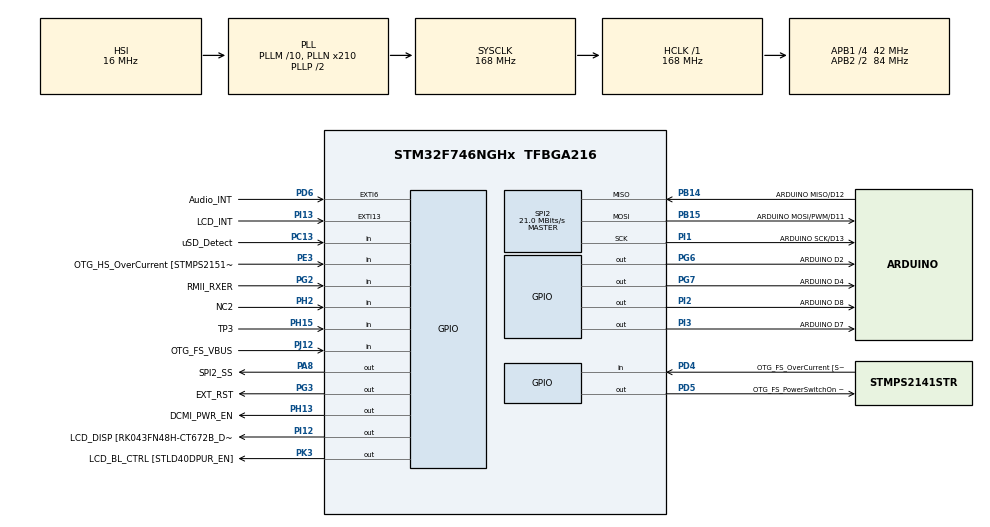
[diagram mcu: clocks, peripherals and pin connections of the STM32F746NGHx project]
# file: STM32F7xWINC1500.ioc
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Mcu.Family=STM32F7
Mcu.Name=STM32F746NGHx
Mcu.Package=TFBGA216
NVIC.PriorityGroup=NVIC_PRIORITYGROUP_4
PA0/WKUP.GPIO_Label=ARDUINO A0
PA0/WKUP.GPIO_Mode=GPIO_MODE_ANALOG
PA0/WKUP.GPIO_PuPd=GPIO_NOPULL
PA0/WKUP.Signal=ADCx_IN0
PA1.GPIO_Label=RMII_REF_CLK [LAN8742A-CZ-TR_REFCLK0]
PA1.Signal=ETH_REF_CLK
PA10.GPIO_Label=OTG_FS_ID
PA10.Signal=USB_OTG_FS_ID
PA11.GPIO_Label=OTG_FS_N
PA11.Signal=USB_OTG_FS_DM
PA12.GPIO_Label=OTG_FS_P
PA12.Signal=USB_OTG_FS_DP
PA13.GPIO_Label=SWDIO
PA13.Signal=SYS_JTMS-SWDIO
PA14.GPIO_Label=SWCLK
PA14.Signal=SYS_JTCK-SWCLK
PA15.GPIO_Label=ARDUINO PWM/D9
PA15.GPIO_ModeDefaultPP=GPIO_MODE_AF_PP
PA15.GPIO_PuPd=GPIO_NOPULL
PA15.GPIO_Speed=GPIO_SPEED_FREQ_LOW
PA15.Signal=S_TIM2_CH1_ETR
PA2.GPIO_Label=RMII_MDIO [LAN8742A-CZ-TR_MDIO]
PA2.Signal=ETH_MDIO
PA3.GPIO_Label=ULPI_D0 [USB3320C-EZK_D0]
PA3.Signal=USB_OTG_HS_ULPI_D0
PA4.GPIO_Label=DCMI_HSYNC
PA4.Signal=DCMI_HSYNC
PA5.GPIO_Label=ULPI_CLK [USB3320C-EZK_CLKOUT]
PA5.Signal=USB_OTG_HS_ULPI_CK
PA6.Signal=DCMI_PIXCLK
PA7.GPIO_Label=RMII_CRS_DV [LAN8742A-CZ-TR_CRS_DV]
PA7.Signal=ETH_CRS_DV
PA8.GPIO_Label=SPI2_SS
PA8.GPIO_Speed=GPIO_SPEED_FREQ_HIGH
PA8.PinState=GPIO_PIN_SET
PA8.Signal=GPIO_Output
PA9.GPIO_Label=VCP_TX [STM32F103CBT6_PA3]
PA9.GPIO_Mode=GPIO_MODE_AF_PP
PA9.GPIO_PuPd=GPIO_NOPULL
PA9.GPIO_Speed=GPIO_SPEED_FREQ_LOW
PA9.Signal=USART1_TX
PB0.GPIO_Label=ULPI_D1 [USB3320C-EZK_D1]
PB0.Signal=USB_OTG_HS_ULPI_D1
PB1.GPIO_Label=ULPI_D2 [USB3320C-EZK_D2]
PB1.Signal=USB_OTG_HS_ULPI_D2
PB10.GPIO_Label=ULPI_D3 [USB3320C-EZK_D3]
PB10.Signal=USB_OTG_HS_ULPI_D3
PB11.GPIO_Label=ULPI_D4 [USB3320C-EZK_D4]
PB11.Signal=USB_OTG_HS_ULPI_D4
PB12.GPIO_Label=ULPI_D5 [USB3320C-EZK_D5]
PB12.Signal=USB_OTG_HS_ULPI_D5
PB13.GPIO_Label=ULPI_D6 [USB3320C-EZK_D6]
PB13.Signal=USB_OTG_HS_ULPI_D6
PB14.GPIO_Label=ARDUINO MISO/D12
PB14.GPIO_Mode=GPIO_MODE_AF_PP
PB14.GPIO_PuPd=GPIO_NOPULL
PB14.GPIO_Speed=GPIO_SPEED_FREQ_HIGH
PB14.Mode=Full_Duplex_Master
PB14.Signal=SPI2_MISO
PB15.GPIO_Label=ARDUINO MOSI/PWM/D11
PB15.GPIO_Mode=GPIO_MODE_AF_PP
PB15.GPIO_PuPd=GPIO_NOPULL
PB15.GPIO_Speed=GPIO_SPEED_FREQ_HIGH
PB15.Mode=Full_Duplex_Master
PB15.Signal=SPI2_MOSI
PB2.Signal=QUADSPI_CLK
PB3.GPIO_Label=SWO
PB3.Signal=SYS_JTDO-SWO
PB4.GPIO_Label=ARDUINO PWM/D3
PB4.GPIO_ModeDefaultPP=GPIO_MODE_AF_PP
PB4.GPIO_PuPd=GPIO_NOPULL
PB4.GPIO_Speed=GPIO_SPEED_FREQ_LOW
PB4.Signal=S_TIM3_CH1
PB5.GPIO_Label=ULPI_D7 [USB3320C-EZK_D7]
PB5.Signal=USB_OTG_HS_ULPI_D7
PB6.GPIO_Label=QSPI_NCS [N25Q128A13EF840E_S]
PB6.Signal=QUADSPI_BK1_NCS
PB7.GPIO_Label=VCP_RX [STM32F103CBT6_PA2]
PB7.GPIO_Mode=GPIO_MODE_AF_PP
PB7.GPIO_PuPd=GPIO_NOPULL
PB7.GPIO_Speed=GPIO_SPEED_FREQ_LOW
PB7.Signal=USART1_RX
PB8.GPIO_Label=ARDUINO SCL/D15
PB8.GPIO_Mode=GPIO_MODE_AF_OD
PB8.GPIO_PuPd=GPIO_NOPULL
PB8.GPIO_Speed=GPIO_SPEED_FREQ_LOW
PB8.Signal=I2C1_SCL
PB9.GPIO_Label=ARDUINO SDA/D14
PB9.GPIO_Mode=GPIO_MODE_AF_OD
PB9.GPIO_PuPd=GPIO_NOPULL
PB9.GPIO_Speed=GPIO_SPEED_FREQ_LOW
PB9.Signal=I2C1_SDA
PC0.GPIO_Label=ULPI_STP [USB3320C-EZK_STP]
PC0.Signal=USB_OTG_HS_ULPI_STP
PC1.GPIO_Label=RMII_MDC [LAN8742A-CZ-TR_MDC]
PC1.Signal=ETH_MDC
PC10.GPIO_Label=SDMMC_D2
PC10.Signal=SDMMC1_D2
PC11.GPIO_Label=SDMMC_D3
PC11.Signal=SDMMC1_D3
PC12.GPIO_Label=SDMMC_CK
PC12.Signal=SDMMC1_CK
PC13.GPIO_Label=uSD_Detect
PC13.Signal=GPIO_Input
PC14/OSC32_IN.GPIO_Label=RCC_OSC32_IN
PC14/OSC32_IN.Signal=RCC_OSC32_IN
PC15/OSC32_OUT.GPIO_Label=RCC_OSC32_OUT
PC15/OSC32_OUT.Signal=RCC_OSC32_OUT
PC2.GPIO_Label=ULPI_DIR [USB3320C-EZK_DIR]
PC2.Signal=USB_OTG_HS_ULPI_DIR
PC3.GPIO_Label=FMC_SDCKE0 [MT48LC4M32B2B5-6A_CKE]
PC3.Signal=FMC_SDCKE0
PC4.GPIO_Label=RMII_RXD0 [LAN8742A-CZ-TR_RXD0]
PC4.Signal=ETH_RXD0
PC5.GPIO_Label=RMII_RXD1 [LAN8742A-CZ-TR_RXD1]
PC5.Signal=ETH_RXD1
PC6.GPIO_Label=ARDUINO TX/D1
PC6.Signal=USART6_TX
PC7.GPIO_Label=ARDUINO RX/D0
PC7.Signal=USART6_RX
PC8.Signal=SDMMC1_D0
PC9.Signal=SDMMC1_D1
PD0.GPIO_Label=FMC_D2 [MT48LC4M32B2B5-6A_DQ2]
PD0.Signal=FMC_D2_DA2
PD1.GPIO_Label=FMC_D3 [MT48LC4M32B2B5-6A_DQ3]
PD1.Signal=FMC_D3_DA3
PD10.GPIO_Label=FMC_D15 [MT48LC4M32B2B5-6A_DQ15]
PD10.Signal=FMC_D15_DA15
PD11.GPIO_Label=QSPI_D0 [N25Q128A13EF840E_DQ0]
PD11.Signal=QUADSPI_BK1_IO0
PD12.GPIO_Label=QSPI_D1 [N25Q128A13EF840E_DQ1]
PD12.Signal=QUADSPI_BK1_IO1
PD13.GPIO_Label=QSPI_D3 [N25Q128A13EF840E_DQ3]
PD13.Signal=QUADSPI_BK1_IO3
PD14.GPIO_Label=FMC_D0 [MT48LC4M32B2B5-6A_DQ0]
PD14.Signal=FMC_D0_DA0
PD15.GPIO_Label=FMC_D1 [MT48LC4M32B2B5-6A_DQ1]
PD15.Signal=FMC_D1_DA1
PD2.GPIO_Label=SDMMC_D0
PD2.Signal=SDMMC1_CMD
PD3.GPIO_Label=DCMI_D5
PD3.Signal=DCMI_D5
PD4.GPIO_Label=OTG_FS_OverCurrent [STMPS2141STR_Fault]
PD4.Signal=GPIO_Input
PD5.GPIO_Label=OTG_FS_PowerSwitchOn [STMPS2141STR_EN]
PD5.PinState=GPIO_PIN_SET
PD5.Signal=GPIO_Output
PD6.GPIO_Label=Audio_INT
PD6.GPIO_ModeDefaultEXTI=GPIO_MODE_EVT_RISING
PD6.Signal=GPXTI6
PD7.GPIO_Label=SPDIF_RX0 [74LVC1G04SE_4]
PD7.Signal=SPDIFRX_IN0
PD8.GPIO_Label=FMC_D13 [MT48LC4M32B2B5-6A_DQ13]
PD8.Signal=FMC_D13_DA13
PD9.GPIO_Label=FMC_D14 [MT48LC4M32B2B5-6A_DQ14]
PD9.Signal=FMC_D14_DA14
PE0.GPIO_Label=FMC_NBL0 [MT48LC4M32B2B5-6A_DQM0]
PE0.Signal=FMC_NBL0
PE1.GPIO_Label=FMC_NBL1 [MT48LC4M32B2B5-6A_DQM1]
PE1.Signal=FMC_NBL1
PE10.GPIO_Label=FMC_D7 [MT48LC4M32B2B5-6A_DQ7]
PE10.Signal=FMC_D7_DA7
PE11.GPIO_Label=FMC_D8 [MT48LC4M32B2B5-6A_DQ8]
PE11.Signal=FMC_D8_DA8
PE12.GPIO_Label=FMC_D9 [MT48LC4M32B2B5-6A_DQ9]
PE12.Signal=FMC_D9_DA9
PE13.GPIO_Label=FMC_D10 [MT48LC4M32B2B5-6A_DQ10]
PE13.Signal=FMC_D10_DA10
PE14.GPIO_Label=FMC_D11 [MT48LC4M32B2B5-6A_DQ11]
PE14.Signal=FMC_D11_DA11
PE15.GPIO_Label=FMC_D12 [MT48LC4M32B2B5-6A_DQ12]
PE15.Signal=FMC_D12_DA12
PE2.GPIO_Label=QSPI_D2 [N25Q128A13EF840E_DQ2]
PE2.Signal=QUADSPI_BK1_IO2
PE3.GPIO_Label=OTG_HS_OverCurrent [STMPS2151STR_FAULT]
PE3.Signal=GPIO_Input
PE4.GPIO_Label=LCD_B0 [RK043FN48H-CT672B_B0]
PE4.Signal=LTDC_B0
PE5.GPIO_Label=DCMI_D6
PE5.Signal=DCMI_D6
PE6.GPIO_Label=DCMI_D7
PE6.Signal=DCMI_D7
PE7.GPIO_Label=FMC_D4 [MT48LC4M32B2B5-6A_DQ4]
PE7.Signal=FMC_D4_DA4
PE8.GPIO_Label=FMC_D5 [MT48LC4M32B2B5-6A_DQ5]
PE8.Signal=FMC_D5_DA5
PE9.GPIO_Label=FMC_D6 [MT48LC4M32B2B5-6A_DQ6]
PE9.Signal=FMC_D6_DA6
PF0.GPIO_Label=FMC_A0 [MT48LC4M32B2B5-6A_A0]
PF0.Signal=FMC_A0
PF1.GPIO_Label=FMC_A1 [MT48LC4M32B2B5-6A_A1]
PF1.Signal=FMC_A1
PF10.GPIO_Label=ARDUINO A1
PF10.GPIO_Mode=GPIO_MODE_ANALOG
PF10.GPIO_PuPd=GPIO_NOPULL
PF10.Signal=ADC3_IN8
PF11.GPIO_Label=FMC_SDNRAS [MT48LC4M32B2B5-6A_RAS]
PF11.Signal=FMC_SDNRAS
PF12.GPIO_Label=FMC_A6 [MT48LC4M32B2B5-6A_A6]
PF12.Signal=FMC_A6
PF13.GPIO_Label=FMC_A7 [MT48LC4M32B2B5-6A_A7]
PF13.Signal=FMC_A7
PF14.GPIO_Label=FMC_A8 [MT48LC4M32B2B5-6A_A8]
PF14.Signal=FMC_A8
PF15.GPIO_Label=FMC_A9 [MT48LC4M32B2B5-6A_A9]
PF15.Signal=FMC_A9
PF2.GPIO_Label=FMC_A2 [MT48LC4M32B2B5-6A_A2]
PF2.Signal=FMC_A2
PF3.GPIO_Label=FMC_A3 [MT48LC4M32B2B5-6A_A3]
PF3.Signal=FMC_A3
PF4.GPIO_Label=FMC_A4 [MT48LC4M32B2B5-6A_A4]
PF4.Signal=FMC_A4
PF5.GPIO_Label=FMC_A5 [MT48LC4M32B2B5-6A_A5]
PF5.Signal=FMC_A5
PF6.GPIO_Label=ARDUINO A5
PF6.GPIO_Mode=GPIO_MODE_ANALOG
PF6.GPIO_PuPd=GPIO_NOPULL
PF6.Signal=ADC3_IN4
PF7.GPIO_Label=ARDUINO A4
PF7.GPIO_Mode=GPIO_MODE_ANALOG
PF7.GPIO_PuPd=GPIO_NOPULL
PF7.Signal=ADC3_IN5
PF8.GPIO_Label=ARDUINO A3
PF8.GPIO_Mode=GPIO_MODE_ANALOG
PF8.GPIO_PuPd=GPIO_NOPULL
PF8.Signal=ADC3_IN6
PF9.GPIO_Label=ARDUINO A2
PF9.GPIO_Mode=GPIO_MODE_ANALOG
PF9.GPIO_PuPd=GPIO_NOPULL
PF9.Signal=ADC3_IN7
PG0.GPIO_Label=FMC_A10 [MT48LC4M32B2B5-6A_A10]
PG0.Signal=FMC_A10
PG1.GPIO_Label=FMC_A11 [MT48LC4M32B2B5-6A_A11]
PG1.Signal=FMC_A11
PG10.GPIO_Label=SAI2_SDB [WM8994ECS/R_ADCDAT1]
PG10.Signal=SAI2_SD_B
PG11.GPIO_Label=RMII_TX_EN [LAN8742A-CZ-TR_TXEN]
PG11.Signal=ETH_TX_EN
PG12.GPIO_Label=LCD_B4 [RK043FN48H-CT672B_B4]
PG12.Signal=LTDC_B4
PG13.GPIO_Label=RMII_TXD0 [LAN8742A-CZ-TR_TXD0]
PG13.Signal=ETH_TXD0
PG14.GPIO_Label=RMII_TXD1 [LAN8742A-CZ-TR_TXD1]
PG14.Signal=ETH_TXD1
PG15.GPIO_Label=FMC_SDNCAS [MT48LC4M32B2B5-6A_CAS]
PG15.Signal=FMC_SDNCAS
PG2.GPIO_Label=RMII_RXER
PG2.Signal=GPIO_Input
PG3.GPIO_Label=EXT_RST
PG3.Signal=GPIO_Output
PG4.GPIO_Label=FMC_BA0 [MT48LC4M32B2B5-6A_BA0]
PG4.Signal=FMC_A14_BA0
PG5.GPIO_Label=FMC_BA1 [MT48LC4M32B2B5-6A_BA1]
PG5.Signal=FMC_A15_BA1
PG6.GPIO_Label=ARDUINO D2
PG6.Signal=GPIO_Output
PG7.GPIO_Label=ARDUINO D4
PG7.Signal=GPIO_Output
PG8.GPIO_Label=FMC_SDCLK [MT48LC4M32B2B5-6A_CLK]
PG8.Signal=FMC_SDCLK
PG9.GPIO_Label=DCMI_VSYNC
PG9.Signal=DCMI_VSYNC
PH0/OSC_IN.GPIO_Label=OSC_25M [NZ2520SB-25.00M_OUT]
PH0/OSC_IN.Mode=HSE-External-Clock-Source
PH0/OSC_IN.Signal=RCC_OSC_IN
PH1/OSC_OUT.Mode=HSE-External-Clock-Source
PH1/OSC_OUT.Signal=RCC_OSC_OUT
PH10.GPIO_Label=DCMI_D1
PH10.Signal=DCMI_D1
PH11.GPIO_Label=DCMI_D2
PH11.Signal=DCMI_D2
PH12.GPIO_Label=DCMI_D3
PH12.Signal=DCMI_D3
PH13.GPIO_Label=DCMI_PWR_EN
PH13.Signal=GPIO_Output
PH14.GPIO_Label=DCMI_D4
PH14.Signal=DCMI_D4
PH15.GPIO_Label=TP3
PH15.Signal=GPIO_Input
PH2.GPIO_Label=NC2
PH2.Signal=GPIO_Input
PH3.GPIO_Label=FMC_SDNE0 [MT48LC4M32B2B5-6A_CS]
PH3.Signal=FMC_SDNE0
PH4.GPIO_Label=ULPI_NXT [USB3320C-EZK_NXT]
PH4.Signal=USB_OTG_HS_ULPI_NXT
PH5.GPIO_Label=FMC_SDNME [MT48LC4M32B2B5-6A_WE]
PH5.Signal=FMC_SDNWE
PH6.GPIO_Label=ARDUINO PWM/D6
PH6.Signal=S_TIM12_CH1
PH7.GPIO_Label=LCD_SCL [RK043FN48H-CT672B_SCL]
PH7.Signal=I2C3_SCL
PH8.GPIO_Label=LCD_SDA [RK043FN48H-CT672B_SDA]
PH8.Signal=I2C3_SDA
PH9.GPIO_Label=DCMI_D0
PH9.Signal=DCMI_D0
PI0.Signal=SPI2_NSS
PI1.GPIO_Label=ARDUINO SCK/D13
PI1.GPIO_Mode=GPIO_MODE_AF_PP
PI1.GPIO_PuPd=GPIO_NOPULL
PI1.GPIO_Speed=GPIO_SPEED_FREQ_HIGH
PI1.Mode=Full_Duplex_Master
PI1.Signal=SPI2_SCK
PI10.GPIO_Label=LCD_HSYNC [RK043FN48H-CT672B_HSYNC]
PI10.Signal=LTDC_HSYNC
PI12.GPIO_Label=LCD_DISP [RK043FN48H-CT672B_DISP] 
PI12.Signal=GPIO_Output
PI13.GPIO_Label=LCD_INT
PI13.GPIO_ModeDefaultEXTI=GPIO_MODE_EVT_RISING
PI13.Signal=GPXTI13
PI14.GPIO_Label=LCD_CLK [RK043FN48H-CT672B_CLK]
PI14.Signal=LTDC_CLK
PI15.GPIO_Label=LCD_R0 [RK043FN48H-CT672B_R0]
PI15.Signal=LTDC_R0
PI2.GPIO_Label=ARDUINO D8
PI2.Signal=GPIO_Output
PI3.GPIO_Label=ARDUINO D7
PI3.Signal=GPIO_Output
PI4.GPIO_Label=SAI2_MCLKA [WM8994ECS/R_MCLK1]
PI4.Signal=SAI2_MCLK_A
PI5.GPIO_Label=SAI2_SCKA [WM8994ECS/R_BCLK1]
PI5.Signal=SAI2_SCK_A
PI6.GPIO_Label=SAI2_SDA [WM8994ECS/R_DACDAT1]
PI6.Signal=SAI2_SD_A
PI7.GPIO_Label=SAI2_FSA [WM8994ECS/R_LRCLK1]
PI7.Signal=SAI2_FS_A
PI8.GPIO_Label=NC1 [TP2]
PI8.Signal=RTC_TS
PI9.GPIO_Label=LCD_VSYNC [RK043FN48H-CT672B_VSYNC]
PI9.Signal=LTDC_VSYNC
PJ0.GPIO_Label=LCD_R1 [RK043FN48H-CT672B_R1]
PJ0.Signal=LTDC_R1
PJ1.GPIO_Label=LCD_R2 [RK043FN48H-CT672B_R2]
PJ1.Signal=LTDC_R2
PJ10.GPIO_Label=LCD_G3 [RK043FN48H-CT672B_G3]
PJ10.Signal=LTDC_G3
PJ11.GPIO_Label=LCD_G4 [RK043FN48H-CT672B_G4]
PJ11.Signal=LTDC_G4
PJ12.GPIO_Label=OTG_FS_VBUS
PJ12.Signal=GPIO_Input
PJ13.GPIO_Label=LCD_B1 [RK043FN48H-CT672B_B1]
PJ13.Signal=LTDC_B1
PJ14.GPIO_Label=LCD_B2 [RK043FN48H-CT672B_B2]
PJ14.Signal=LTDC_B2
PJ15.GPIO_Label=LCD_B3 [RK043FN48H-CT672B_B3]
PJ15.Signal=LTDC_B3
PJ2.GPIO_Label=LCD_R3 [RK043FN48H-CT672B_R3]
PJ2.Signal=LTDC_R3
PJ3.GPIO_Label=LCD_R4 [RK043FN48H-CT672B_R4]
PJ3.Signal=LTDC_R4
PJ4.GPIO_Label=LCD_R5 [RK043FN48H-CT672B_R5]
PJ4.Signal=LTDC_R5
PJ5.GPIO_Label=LCD_R6 [RK043FN48H-CT672B_R6]
PJ5.Signal=LTDC_R6
PJ6.GPIO_Label=LCD_R7 [RK043FN48H-CT672B_R7]
PJ6.Signal=LTDC_R7
PJ7.GPIO_Label=LCD_G0 [RK043FN48H-CT672B_G0]
PJ7.Signal=LTDC_G0
PJ8.GPIO_Label=LCD_G1 [RK043FN48H-CT672B_G1]
PJ8.Signal=LTDC_G1
PJ9.GPIO_Label=LCD_G2 [RK043FN48H-CT672B_G2]
PJ9.Signal=LTDC_G2
PK0.GPIO_Label=LCD_G5 [RK043FN48H-CT672B_G5]
PK0.Signal=LTDC_G5
PK1.GPIO_Label=LCD_G6 [RK043FN48H-CT672B_G6]
PK1.Signal=LTDC_G6
PK2.GPIO_Label=LCD_G7 [RK043FN48H-CT672B_G7]
PK2.Signal=LTDC_G7
PK3.GPIO_Label=LCD_BL_CTRL [STLD40DPUR_EN]
PK3.Signal=GPIO_Output
PK4.GPIO_Label=LCD_B5 [RK043FN48H-CT672B_B5]
PK4.Signal=LTDC_B5
PK5.GPIO_Label=LCD_B6 [RK043FN48H-CT672B_B6]
PK5.Signal=LTDC_B6
PK6.GPIO_Label=LCD_B7 [RK043FN48H-CT672B_B7]
PK6.Signal=LTDC_B7
PK7.GPIO_Label=LCD_DE [RK043FN48H-CT672B_DE]
PK7.Signal=LTDC_DE
ProjectManager.HeapSize=0x200
ProjectManager.StackSize=0x400
ProjectManager.TargetToolchain=SW4STM32
RCC.AHBFreq_Value=168000000
RCC.APB1CLKDivider=RCC_HCLK_DIV4
RCC.APB1Freq_Value=42000000
RCC.APB1TimFreq_Value=84000000
RCC.APB2CLKDivider=RCC_HCLK_DIV2
RCC.APB2Freq_Value=84000000
RCC.APB2TimFreq_Value=168000000
RCC.CortexFreq_Value=168000000
RCC.HCLKFreq_Value=168000000
RCC.HSE_VALUE=25000000
RCC.HSI_VALUE=16000000
RCC.LSE_VALUE=32768
RCC.PLLM=10
RCC.PLLN=210
RCC.PLLSourceVirtual=RCC_PLLSOURCE_HSI
RCC.SYSCLKFreq_VALUE=168000000
RCC.SYSCLKSource=RCC_SYSCLKSOURCE_PLLCLK
RCC.USBFreq_Value=168000000
RCC.VCOOutputFreq_Value=336000000
SH.ADCx_IN0.0=ADC3_IN0
SH.FMC_A0.0=FMC_A0
SH.FMC_A1.0=FMC_A1
SH.FMC_A10.0=FMC_A10
SH.FMC_A11.0=FMC_A11
SH.FMC_A14_BA0.0=FMC_BA0
SH.FMC_A15_BA1.0=FMC_BA1
SH.FMC_A2.0=FMC_A2
SH.FMC_A3.0=FMC_A3
SH.FMC_A4.0=FMC_A4
SH.FMC_A5.0=FMC_A5
SH.FMC_A6.0=FMC_A6
SH.FMC_A7.0=FMC_A7
SH.FMC_A8.0=FMC_A8
SH.FMC_A9.0=FMC_A9
SH.FMC_D0_DA0.0=FMC_D0
SH.FMC_D10_DA10.0=FMC_D10
SH.FMC_D11_DA11.0=FMC_D11
SH.FMC_D12_DA12.0=FMC_D12
SH.FMC_D13_DA13.0=FMC_D13
SH.FMC_D14_DA14.0=FMC_D14
SH.FMC_D15_DA15.0=FMC_D15
SH.FMC_D1_DA1.0=FMC_D1
SH.FMC_D2_DA2.0=FMC_D2
SH.FMC_D3_DA3.0=FMC_D3
SH.FMC_D4_DA4.0=FMC_D4
SH.FMC_D5_DA5.0=FMC_D5
SH.FMC_D6_DA6.0=FMC_D6
SH.FMC_D7_DA7.0=FMC_D7
SH.FMC_D8_DA8.0=FMC_D8
SH.FMC_D9_DA9.0=FMC_D9
SH.FMC_NBL0.0=FMC_NBL0
SH.FMC_NBL1.0=FMC_NBL1
SH.FMC_SDCLK.0=FMC_SDCLK
SH.FMC_SDNCAS.0=FMC_SDNCAS
SH.FMC_SDNRAS.0=FMC_SDNRAS
SH.FMC_SDNWE.0=FMC_SDNWE
SH.S_TIM12_CH1.0=TIM12_CH1
SH.S_TIM2_CH1_ETR.0=TIM2_CH1
SH.S_TIM3_CH1.0=TIM3_CH1
SPI2.CalculateBaudRate=21.0 MBits/s
SPI2.DataSize=SPI_DATASIZE_8BIT
SPI2.Direction=SPI_DIRECTION_2LINES
SPI2.Mode=SPI_MODE_MASTER
SPI2.VirtualType=VM_MASTER
board=32F746GDISCOVERY

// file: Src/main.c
/* USER CODE BEGIN Header */
/**
  ******************************************************************************
  * @file           : main.c
  * @brief          : Main program body
  ******************************************************************************
  * @attention
  *
  * <h2><center>&copy; Copyright (c) 2019 STMicroelectronics.
  * All rights reserved.</center></h2>
  *
  * This software component is licensed by ST under BSD 3-Clause license,
  * the "License"; You may not use this file except in compliance with the
  * License. You may obtain a copy of the License at:
  *                        opensource.org/licenses/BSD-3-Clause
  *
  ******************************************************************************
  */
/* USER CODE END Header */

#include "main.h"

/* USER CODE BEGIN Includes */
#include "m2m_wifi.h"
#include "nmasic.h"
#include "m2m_hif.h"
#include <stdio.h>

#define STRING_EOL    "\r\n"
#define STRING_HEADER "-- WINC1500 chip information example --"STRING_EOL \
	"-- "BOARD_NAME " --"STRING_EOL	\
	"-- Compiled: "__DATE__ " "__TIME__ " --"STRING_EOL
#define ITM_Port8(n)    (*((volatile unsigned char *)(0xE0000000+4*n)))
#define ITM_Port16(n)   (*((volatile unsigned short*)(0xE0000000+4*n)))
#define ITM_Port32(n)   (*((volatile unsigned long *)(0xE0000000+4*n)))

#define DEMCR           (*((volatile unsigned long *)(0xE000EDFC)))
#define TRCENA          0x01000000
struct __FILE { int handle; /* Add whatever needed */ };
FILE __stdout;
FILE __stdin;

int fputc(int ch, FILE *f) {
  if (DEMCR & TRCENA) {
    while (ITM_Port32(0) == 0);
    ITM_Port8(0) = ch;
  }
  return(ch);
}
/* USER CODE END Includes */

SPI_HandleTypeDef hspi2;

void SystemClock_Config(void);
static void MX_GPIO_Init(void);
static void MX_SPI2_Init(void);

/* USER CODE BEGIN 0 */
static uint8_t scan_request_index = 0;
/** Number of APs found. */
static uint8_t num_founded_ap = 0;
#define MAIN_WLAN_SSID        "DEMO_AP" /* < Destination SSID */
#define MAIN_WLAN_AUTH        M2M_WIFI_SEC_WPA_PSK /* < Security manner */
#define MAIN_WLAN_PSK         "12345678" /* < Password for Destination SSID */

/**
 * \brief Callback to get the Wi-Fi status update.
 *
 * \param[in] u8MsgType type of Wi-Fi notification. Possible types are:
 *  - [M2M_WIFI_RESP_CON_STATE_CHANGED](@ref M2M_WIFI_RESP_CON_STATE_CHANGED)
 *  - [M2M_WIFI_RESP_SCAN_DONE](@ref M2M_WIFI_RESP_SCAN_DONE)
 *  - [M2M_WIFI_RESP_SCAN_RESULT](@ref M2M_WIFI_RESP_SCAN_RESULT)
 *  - [M2M_WIFI_REQ_DHCP_CONF](@ref M2M_WIFI_REQ_DHCP_CONF)
 * \param[in] pvMsg A pointer to a buffer containing the notification parameters
 * (if any). It should be casted to the correct data type corresponding to the
 * notification type.
 */
static void wifi_cb(uint8_t u8MsgType, void *pvMsg)
{
	switch (u8MsgType) {
	case M2M_WIFI_RESP_SCAN_DONE:
	{
		tstrM2mScanDone *pstrInfo = (tstrM2mScanDone *)pvMsg;
		uint8 scan_request_index = 0;
		if (pstrInfo->u8NumofCh >= 1) {
			m2m_wifi_req_scan_result(scan_request_index);
			scan_request_index++;
		} else {
			m2m_wifi_request_scan(M2M_WIFI_CH_ALL);
		}

		break;
	}

	case M2M_WIFI_RESP_SCAN_RESULT:
	{
		tstrM2mWifiscanResult *pstrScanResult = (tstrM2mWifiscanResult *)pvMsg;
		uint16_t demo_ssid_len;
		uint16_t scan_ssid_len = strlen((const char *)pstrScanResult->au8SSID);

		/* display founded AP. */
		////printf("[%d] SSID:%s\r\n", scan_request_index, pstrScanResult->au8SSID);

		num_founded_ap = m2m_wifi_get_num_ap_found();
		if (scan_ssid_len) {
			/* check same SSID. */
			demo_ssid_len = strlen((const char *)MAIN_WLAN_SSID);
			if
			(
				(demo_ssid_len == scan_ssid_len) &&
				(!memcmp(pstrScanResult->au8SSID, (uint8_t *)MAIN_WLAN_SSID, demo_ssid_len))
			) {
				/* A scan result matches an entry in the preferred AP List.
				 * Initiate a connection request.
				 */
				//printf("Found %s \r\n", MAIN_WLAN_SSID);
				m2m_wifi_connect((char *)MAIN_WLAN_SSID,
						sizeof(MAIN_WLAN_SSID),
						MAIN_WLAN_AUTH,
						(void *)MAIN_WLAN_PSK,
						M2M_WIFI_CH_ALL);
				break;
			}
		}

		if (scan_request_index < num_founded_ap) {
			m2m_wifi_req_scan_result(scan_request_index);
			scan_request_index++;
		} else {
			//printf("can not find AP %s\r\n", MAIN_WLAN_SSID);
			m2m_wifi_request_scan(M2M_WIFI_CH_ALL);
		}

		break;
	}

	case M2M_WIFI_RESP_CON_STATE_CHANGED:
	{
		tstrM2mWifiStateChanged *pstrWifiState = (tstrM2mWifiStateChanged *)pvMsg;
		if (pstrWifiState->u8CurrState == M2M_WIFI_CONNECTED) {
			m2m_wifi_request_dhcp_client();
		} else if (pstrWifiState->u8CurrState == M2M_WIFI_DISCONNECTED) {
			//printf("Wi-Fi disconnected\r\n");

			/* Request scan. */
			m2m_wifi_request_scan(M2M_WIFI_CH_ALL);
		}

		break;
	}

	case M2M_WIFI_REQ_DHCP_CONF:
	{
		uint8_t *pu8IPAddress = (uint8_t *)pvMsg;
		printf("Wi-Fi connected\r\n");
		printf("Wi-Fi IP is %u.%u.%u.%u\r\n",
				pu8IPAddress[0], pu8IPAddress[1], pu8IPAddress[2], pu8IPAddress[3]);
		break;
	}

	default:
	{
		break;
	}
	}
}

/* USER CODE END 0 */

int main(void)
{

  /* MCU Configuration--------------------------------------------------------*/

  /* Reset of all peripherals, Initializes the Flash interface and the Systick. */
  HAL_Init();

  /* Configure the system clock */
  SystemClock_Config();

  /* USER CODE BEGIN SysInit */

  /* Configure the system clock */
  SystemClock_Config();

  /* Initialize all configured peripherals */
  MX_GPIO_Init();
	 HAL_GPIO_WritePin(GPIOE,GPIO_PIN_3,GPIO_PIN_SET);
	 HAL_GPIO_WritePin(GPIOA,GPIO_PIN_4,GPIO_PIN_SET);
  MX_SPI2_Init();

  /* USER CODE END SysInit */

  /* Initialize all configured peripherals */
//  MX_GPIO_Init();
//  MX_SPI2_Init();
  /* USER CODE BEGIN 2 */

	 tstrWifiInitParam param;
	 	int8_t ret;

	 	/* Initialize the board. */
	 //	system_init();

	 	/* Initialize the UART console. */
	 	//configure_console();
	 	//printf("HELLO....");

	 	/* Initialize the BSP. */
	 	nm_bsp_init();

	 	/* Initialize Wi-Fi parameters structure. */
	 	/* Initialize Wi-Fi parameters structure. */
	 	memset((uint8_t *)&param, 0, sizeof(tstrWifiInitParam));

	 	/* Initialize Wi-Fi driver with data and status callbacks. */
	 	param.pfAppWifiCb = wifi_cb;
	 	ret = m2m_wifi_init(&param);
	 	if (M2M_SUCCESS != ret) {
	 		printf("main: m2m_wifi_init call error!(%d)\r\n", ret);
	 		while (1) {
	 		}
	 	}

	 	/* Request scan. */
	 	m2m_wifi_request_scan(M2M_WIFI_CH_ALL);
  /* USER CODE END 2 */

  /* Infinite loop */
  /* USER CODE BEGIN WHILE */
  while (1)
  {
	/* Handle pending events from network controller. */
	while (m2m_wifi_handle_events(NULL) != M2M_SUCCESS) {
	}
    /* USER CODE END WHILE */

    /* USER CODE BEGIN 3 */
  }

  return 0;
  /* USER CODE END 3 */
}

void SystemClock_Config(void)
{
  RCC_OscInitTypeDef RCC_OscInitStruct = {0};
  RCC_ClkInitTypeDef RCC_ClkInitStruct = {0};

  /** Configure the main internal regulator output voltage
  */
  __HAL_RCC_PWR_CLK_ENABLE();
  __HAL_PWR_VOLTAGESCALING_CONFIG(PWR_REGULATOR_VOLTAGE_SCALE2);
  /** Initializes the CPU, AHB and APB busses clocks
  */
  RCC_OscInitStruct.OscillatorType = RCC_OSCILLATORTYPE_HSI;
  RCC_OscInitStruct.HSIState = RCC_HSI_ON;
  RCC_OscInitStruct.HSICalibrationValue = RCC_HSICALIBRATION_DEFAULT;
  RCC_OscInitStruct.PLL.PLLState = RCC_PLL_ON;
  RCC_OscInitStruct.PLL.PLLSource = RCC_PLLSOURCE_HSI;
  RCC_OscInitStruct.PLL.PLLM = 10;
  RCC_OscInitStruct.PLL.PLLN = 210;
  RCC_OscInitStruct.PLL.PLLP = RCC_PLLP_DIV2;
  RCC_OscInitStruct.PLL.PLLQ = 2;
  if (HAL_RCC_OscConfig(&RCC_OscInitStruct) != HAL_OK)
  {
    Error_Handler();
  }
  /** Initializes the CPU, AHB and APB busses clocks
  */
  RCC_ClkInitStruct.ClockType = RCC_CLOCKTYPE_HCLK|RCC_CLOCKTYPE_SYSCLK
                              |RCC_CLOCKTYPE_PCLK1|RCC_CLOCKTYPE_PCLK2;
  RCC_ClkInitStruct.SYSCLKSource = RCC_SYSCLKSOURCE_PLLCLK;
  RCC_ClkInitStruct.AHBCLKDivider = RCC_SYSCLK_DIV1;
  RCC_ClkInitStruct.APB1CLKDivider = RCC_HCLK_DIV4;
  RCC_ClkInitStruct.APB2CLKDivider = RCC_HCLK_DIV2;

  if (HAL_RCC_ClockConfig(&RCC_ClkInitStruct, FLASH_LATENCY_5) != HAL_OK)
  {
    Error_Handler();
  }
}

static void MX_SPI2_Init(void)
{

  /* SPI2 parameter configuration*/

  hspi2.Instance = SPI2;
  hspi2.Init.Mode = SPI_MODE_MASTER;
  hspi2.Init.Direction = SPI_DIRECTION_2LINES;
  hspi2.Init.DataSize = SPI_DATASIZE_8BIT;
  hspi2.Init.CLKPolarity = SPI_POLARITY_LOW;
  hspi2.Init.CLKPhase = SPI_PHASE_1EDGE;
  hspi2.Init.NSS = SPI_NSS_SOFT;
  hspi2.Init.BaudRatePrescaler = SPI_BAUDRATEPRESCALER_4;
  hspi2.Init.FirstBit = SPI_FIRSTBIT_MSB;
  hspi2.Init.TIMode = SPI_TIMODE_DISABLE;
  hspi2.Init.CRCCalculation = SPI_CRCCALCULATION_DISABLE;
  hspi2.Init.CRCPolynomial = 10;
  hspi2.Init.CRCLength = SPI_CRC_LENGTH_DATASIZE;
  hspi2.Init.NSSPMode = SPI_NSS_PULSE_ENABLE;

  if (HAL_SPI_Init(&hspi2) != HAL_OK)
  {
    Error_Handler();
  }

}

static void MX_GPIO_Init(void)
{
  GPIO_InitTypeDef GPIO_InitStruct = {0};

  /* GPIO Ports Clock Enable */
  __HAL_RCC_GPIOE_CLK_ENABLE();
  __HAL_RCC_GPIOG_CLK_ENABLE();
  __HAL_RCC_GPIOB_CLK_ENABLE();
  __HAL_RCC_GPIOD_CLK_ENABLE();
  __HAL_RCC_GPIOC_CLK_ENABLE();
  __HAL_RCC_GPIOA_CLK_ENABLE();
  __HAL_RCC_GPIOJ_CLK_ENABLE();
  __HAL_RCC_GPIOI_CLK_ENABLE();
  __HAL_RCC_GPIOK_CLK_ENABLE();
  __HAL_RCC_GPIOF_CLK_ENABLE();
  __HAL_RCC_GPIOH_CLK_ENABLE();

  /*Configure GPIO pin Output Level */
  HAL_GPIO_WritePin(OTG_FS_PowerSwitchOn_GPIO_Port, OTG_FS_PowerSwitchOn_Pin, GPIO_PIN_SET);

  /*Configure GPIO pin Output Level */
  HAL_GPIO_WritePin(GPIOI, ARDUINO_D7_Pin|ARDUINO_D8_Pin|LCD_DISP_Pin, GPIO_PIN_RESET);

  /*Configure GPIO pin Output Level */
  HAL_GPIO_WritePin(LCD_BL_CTRL_GPIO_Port, LCD_BL_CTRL_Pin, GPIO_PIN_RESET);

  /*Configure GPIO pin Output Level */
  HAL_GPIO_WritePin(DCMI_PWR_EN_GPIO_Port, DCMI_PWR_EN_Pin, GPIO_PIN_RESET);

  /*Configure GPIO pin Output Level */
  HAL_GPIO_WritePin(SPI2_SS_GPIO_Port, SPI2_SS_Pin, GPIO_PIN_SET);

  /*Configure GPIO pin Output Level */
  HAL_GPIO_WritePin(GPIOG, ARDUINO_D4_Pin|ARDUINO_D2_Pin|EXT_RST_Pin, GPIO_PIN_RESET);

  /*Configure GPIO pin : LCD_B0_Pin */
  GPIO_InitStruct.Pin = LCD_B0_Pin;
  GPIO_InitStruct.Mode = GPIO_MODE_AF_PP;
  GPIO_InitStruct.Pull = GPIO_NOPULL;
  GPIO_InitStruct.Speed = GPIO_SPEED_FREQ_LOW;
  GPIO_InitStruct.Alternate = GPIO_AF14_LTDC;
  HAL_GPIO_Init(LCD_B0_GPIO_Port, &GPIO_InitStruct);

  /*Configure GPIO pin : OTG_HS_OverCurrent_Pin */
  GPIO_InitStruct.Pin = OTG_HS_OverCurrent_Pin;
  GPIO_InitStruct.Mode = GPIO_MODE_INPUT;
  GPIO_InitStruct.Pull = GPIO_NOPULL;
  HAL_GPIO_Init(OTG_HS_OverCurrent_GPIO_Port, &GPIO_InitStruct);

  /*Configure GPIO pin : QSPI_D2_Pin */
  GPIO_InitStruct.Pin = QSPI_D2_Pin;
  GPIO_InitStruct.Mode = GPIO_MODE_AF_PP;
  GPIO_InitStruct.Pull = GPIO_NOPULL;
  GPIO_InitStruct.Speed = GPIO_SPEED_FREQ_VERY_HIGH;
  GPIO_InitStruct.Alternate = GPIO_AF9_QUADSPI;
  HAL_GPIO_Init(QSPI_D2_GPIO_Port, &GPIO_InitStruct);

  /*Configure GPIO pins : RMII_TXD1_Pin RMII_TXD0_Pin RMII_TX_EN_Pin */
  GPIO_InitStruct.Pin = RMII_TXD1_Pin|RMII_TXD0_Pin|RMII_TX_EN_Pin;
  GPIO_InitStruct.Mode = GPIO_MODE_AF_PP;
  GPIO_InitStruct.Pull = GPIO_NOPULL;
  GPIO_InitStruct.Speed = GPIO_SPEED_FREQ_VERY_HIGH;
  GPIO_InitStruct.Alternate = GPIO_AF11_ETH;
  HAL_GPIO_Init(GPIOG, &GPIO_InitStruct);

  /*Configure GPIO pins : FMC_NBL1_Pin FMC_NBL0_Pin FMC_D5_Pin FMC_D6_Pin
                           FMC_D8_Pin FMC_D11_Pin FMC_D4_Pin FMC_D7_Pin
                           FMC_D9_Pin FMC_D12_Pin FMC_D10_Pin */
  GPIO_InitStruct.Pin = FMC_NBL1_Pin|FMC_NBL0_Pin|FMC_D5_Pin|FMC_D6_Pin
                          |FMC_D8_Pin|FMC_D11_Pin|FMC_D4_Pin|FMC_D7_Pin
                          |FMC_D9_Pin|FMC_D12_Pin|FMC_D10_Pin;
  GPIO_InitStruct.Mode = GPIO_MODE_AF_PP;
  GPIO_InitStruct.Pull = GPIO_NOPULL;
  GPIO_InitStruct.Speed = GPIO_SPEED_FREQ_VERY_HIGH;
  GPIO_InitStruct.Alternate = GPIO_AF12_FMC;
  HAL_GPIO_Init(GPIOE, &GPIO_InitStruct);

  /*Configure GPIO pins : ARDUINO_SCL_D15_Pin ARDUINO_SDA_D14_Pin */
  GPIO_InitStruct.Pin = ARDUINO_SCL_D15_Pin|ARDUINO_SDA_D14_Pin;
  GPIO_InitStruct.Mode = GPIO_MODE_AF_OD;
  GPIO_InitStruct.Pull = GPIO_PULLUP;
  GPIO_InitStruct.Speed = GPIO_SPEED_FREQ_LOW;
  GPIO_InitStruct.Alternate = GPIO_AF4_I2C1;
  HAL_GPIO_Init(GPIOB, &GPIO_InitStruct);

  /*Configure GPIO pins : ULPI_D7_Pin ULPI_D6_Pin ULPI_D5_Pin ULPI_D3_Pin
                           ULPI_D2_Pin ULPI_D1_Pin ULPI_D4_Pin */
  GPIO_InitStruct.Pin = ULPI_D7_Pin|ULPI_D6_Pin|ULPI_D5_Pin|ULPI_D3_Pin
                          |ULPI_D2_Pin|ULPI_D1_Pin|ULPI_D4_Pin;
  GPIO_InitStruct.Mode = GPIO_MODE_AF_PP;
  GPIO_InitStruct.Pull = GPIO_NOPULL;
  GPIO_InitStruct.Speed = GPIO_SPEED_FREQ_VERY_HIGH;
  GPIO_InitStruct.Alternate = GPIO_AF10_OTG_HS;
  HAL_GPIO_Init(GPIOB, &GPIO_InitStruct);

  /*Configure GPIO pin : ARDUINO_PWM_D3_Pin */
  GPIO_InitStruct.Pin = ARDUINO_PWM_D3_Pin;
  GPIO_InitStruct.Mode = GPIO_MODE_AF_PP;
  GPIO_InitStruct.Pull = GPIO_NOPULL;
  GPIO_InitStruct.Speed = GPIO_SPEED_FREQ_LOW;
  GPIO_InitStruct.Alternate = GPIO_AF2_TIM3;
  HAL_GPIO_Init(ARDUINO_PWM_D3_GPIO_Port, &GPIO_InitStruct);

  /*Configure GPIO pin : SPDIF_RX0_Pin */
  GPIO_InitStruct.Pin = SPDIF_RX0_Pin;
  GPIO_InitStruct.Mode = GPIO_MODE_AF_PP;
  GPIO_InitStruct.Pull = GPIO_NOPULL;
  GPIO_InitStruct.Speed = GPIO_SPEED_FREQ_LOW;
  GPIO_InitStruct.Alternate = GPIO_AF8_SPDIFRX;
  HAL_GPIO_Init(SPDIF_RX0_GPIO_Port, &GPIO_InitStruct);

  /*Configure GPIO pins : SDMMC_CK_Pin SDMMC_D3_Pin SDMMC_D2_Pin PC9
                           PC8 */
  GPIO_InitStruct.Pin = SDMMC_CK_Pin|SDMMC_D3_Pin|SDMMC_D2_Pin|GPIO_PIN_9
                          |GPIO_PIN_8;
  GPIO_InitStruct.Mode = GPIO_MODE_AF_PP;
  GPIO_InitStruct.Pull = GPIO_NOPULL;
  GPIO_InitStruct.Speed = GPIO_SPEED_FREQ_VERY_HIGH;
  GPIO_InitStruct.Alternate = GPIO_AF12_SDMMC1;
  HAL_GPIO_Init(GPIOC, &GPIO_InitStruct);

  /*Configure GPIO pin : ARDUINO_PWM_D9_Pin */
  GPIO_InitStruct.Pin = ARDUINO_PWM_D9_Pin;
  GPIO_InitStruct.Mode = GPIO_MODE_AF_PP;
  GPIO_InitStruct.Pull = GPIO_NOPULL;
  GPIO_InitStruct.Speed = GPIO_SPEED_FREQ_LOW;
  GPIO_InitStruct.Alternate = GPIO_AF1_TIM2;
  HAL_GPIO_Init(ARDUINO_PWM_D9_GPIO_Port, &GPIO_InitStruct);

  /*Configure GPIO pins : DCMI_D6_Pin DCMI_D7_Pin */
  GPIO_InitStruct.Pin = DCMI_D6_Pin|DCMI_D7_Pin;
  GPIO_InitStruct.Mode = GPIO_MODE_AF_PP;
  GPIO_InitStruct.Pull = GPIO_NOPULL;
  GPIO_InitStruct.Speed = GPIO_SPEED_FREQ_LOW;
  GPIO_InitStruct.Alternate = GPIO_AF13_DCMI;
  HAL_GPIO_Init(GPIOE, &GPIO_InitStruct);

  /*Configure GPIO pin : VCP_RX_Pin */
  GPIO_InitStruct.Pin = VCP_RX_Pin;
  GPIO_InitStruct.Mode = GPIO_MODE_AF_PP;
  GPIO_InitStruct.Pull = GPIO_NOPULL;
  GPIO_InitStruct.Speed = GPIO_SPEED_FREQ_LOW;
  GPIO_InitStruct.Alternate = GPIO_AF7_USART1;
  HAL_GPIO_Init(VCP_RX_GPIO_Port, &GPIO_InitStruct);

  /*Configure GPIO pin : QSPI_NCS_Pin */
  GPIO_InitStruct.Pin = QSPI_NCS_Pin;
  GPIO_InitStruct.Mode = GPIO_MODE_AF_PP;
  GPIO_InitStruct.Pull = GPIO_NOPULL;
  GPIO_InitStruct.Speed = GPIO_SPEED_FREQ_VERY_HIGH;
  GPIO_InitStruct.Alternate = GPIO_AF10_QUADSPI;
  HAL_GPIO_Init(QSPI_NCS_GPIO_Port, &GPIO_InitStruct);

  /*Configure GPIO pins : FMC_SDNCAS_Pin FMC_SDCLK_Pin FMC_A11_Pin FMC_A10_Pin
                           FMC_BA1_Pin FMC_BA0_Pin */
  GPIO_InitStruct.Pin = FMC_SDNCAS_Pin|FMC_SDCLK_Pin|FMC_A11_Pin|FMC_A10_Pin
                          |FMC_BA1_Pin|FMC_BA0_Pin;
  GPIO_InitStruct.Mode = GPIO_MODE_AF_PP;
  GPIO_InitStruct.Pull = GPIO_NOPULL;
  GPIO_InitStruct.Speed = GPIO_SPEED_FREQ_VERY_HIGH;
  GPIO_InitStruct.Alternate = GPIO_AF12_FMC;
  HAL_GPIO_Init(GPIOG, &GPIO_InitStruct);

  /*Configure GPIO pins : LCD_B1_Pin LCD_B2_Pin LCD_B3_Pin LCD_G4_Pin
                           LCD_G1_Pin LCD_G3_Pin LCD_G0_Pin LCD_G2_Pin
                           LCD_R7_Pin LCD_R5_Pin LCD_R6_Pin LCD_R4_Pin
                           LCD_R3_Pin LCD_R1_Pin LCD_R2_Pin */
  GPIO_InitStruct.Pin = LCD_B1_Pin|LCD_B2_Pin|LCD_B3_Pin|LCD_G4_Pin
                          |LCD_G1_Pin|LCD_G3_Pin|LCD_G0_Pin|LCD_G2_Pin
                          |LCD_R7_Pin|LCD_R5_Pin|LCD_R6_Pin|LCD_R4_Pin
                          |LCD_R3_Pin|LCD_R1_Pin|LCD_R2_Pin;
  GPIO_InitStruct.Mode = GPIO_MODE_AF_PP;
  GPIO_InitStruct.Pull = GPIO_NOPULL;
  GPIO_InitStruct.Speed = GPIO_SPEED_FREQ_LOW;
  GPIO_InitStruct.Alternate = GPIO_AF14_LTDC;
  HAL_GPIO_Init(GPIOJ, &GPIO_InitStruct);

  /*Configure GPIO pin : OTG_FS_VBUS_Pin */
  GPIO_InitStruct.Pin = OTG_FS_VBUS_Pin;
  GPIO_InitStruct.Mode = GPIO_MODE_INPUT;
  GPIO_InitStruct.Pull = GPIO_NOPULL;
  HAL_GPIO_Init(OTG_FS_VBUS_GPIO_Port, &GPIO_InitStruct);

  /*Configure GPIO pin : Audio_INT_Pin */
  GPIO_InitStruct.Pin = Audio_INT_Pin;
  GPIO_InitStruct.Mode = GPIO_MODE_EVT_RISING;
  GPIO_InitStruct.Pull = GPIO_NOPULL;
  HAL_GPIO_Init(Audio_INT_GPIO_Port, &GPIO_InitStruct);

  /*Configure GPIO pins : FMC_D2_Pin FMC_D3_Pin FMC_D1_Pin FMC_D15_Pin
                           FMC_D0_Pin FMC_D14_Pin FMC_D13_Pin */
  GPIO_InitStruct.Pin = FMC_D2_Pin|FMC_D3_Pin|FMC_D1_Pin|FMC_D15_Pin
                          |FMC_D0_Pin|FMC_D14_Pin|FMC_D13_Pin;
  GPIO_InitStruct.Mode = GPIO_MODE_AF_PP;
  GPIO_InitStruct.Pull = GPIO_NOPULL;
  GPIO_InitStruct.Speed = GPIO_SPEED_FREQ_VERY_HIGH;
  GPIO_InitStruct.Alternate = GPIO_AF12_FMC;
  HAL_GPIO_Init(GPIOD, &GPIO_InitStruct);

  /*Configure GPIO pins : OTG_FS_P_Pin OTG_FS_N_Pin OTG_FS_ID_Pin */
  GPIO_InitStruct.Pin = OTG_FS_P_Pin|OTG_FS_N_Pin|OTG_FS_ID_Pin;
  GPIO_InitStruct.Mode = GPIO_MODE_AF_PP;
  GPIO_InitStruct.Pull = GPIO_NOPULL;
  GPIO_InitStruct.Speed = GPIO_SPEED_FREQ_VERY_HIGH;
  GPIO_InitStruct.Alternate = GPIO_AF10_OTG_FS;
  HAL_GPIO_Init(GPIOA, &GPIO_InitStruct);

  /*Configure GPIO pins : SAI2_MCLKA_Pin SAI2_SCKA_Pin SAI2_FSA_Pin SAI2_SDA_Pin */
  GPIO_InitStruct.Pin = SAI2_MCLKA_Pin|SAI2_SCKA_Pin|SAI2_FSA_Pin|SAI2_SDA_Pin;
  GPIO_InitStruct.Mode = GPIO_MODE_AF_PP;
  GPIO_InitStruct.Pull = GPIO_NOPULL;
  GPIO_InitStruct.Speed = GPIO_SPEED_FREQ_LOW;
  GPIO_InitStruct.Alternate = GPIO_AF10_SAI2;
  HAL_GPIO_Init(GPIOI, &GPIO_InitStruct);

  /*Configure GPIO pins : LCD_DE_Pin LCD_B7_Pin LCD_B6_Pin LCD_B5_Pin
                           LCD_G6_Pin LCD_G7_Pin LCD_G5_Pin */
  GPIO_InitStruct.Pin = LCD_DE_Pin|LCD_B7_Pin|LCD_B6_Pin|LCD_B5_Pin
                          |LCD_G6_Pin|LCD_G7_Pin|LCD_G5_Pin;
  GPIO_InitStruct.Mode = GPIO_MODE_AF_PP;
  GPIO_InitStruct.Pull = GPIO_NOPULL;
  GPIO_InitStruct.Speed = GPIO_SPEED_FREQ_LOW;
  GPIO_InitStruct.Alternate = GPIO_AF14_LTDC;
  HAL_GPIO_Init(GPIOK, &GPIO_InitStruct);

  /*Configure GPIO pin : LCD_B4_Pin */
  GPIO_InitStruct.Pin = LCD_B4_Pin;
  GPIO_InitStruct.Mode = GPIO_MODE_AF_PP;
  GPIO_InitStruct.Pull = GPIO_NOPULL;
  GPIO_InitStruct.Speed = GPIO_SPEED_FREQ_LOW;
  GPIO_InitStruct.Alternate = GPIO_AF9_LTDC;
  HAL_GPIO_Init(LCD_B4_GPIO_Port, &GPIO_InitStruct);

  /*Configure GPIO pin : SAI2_SDB_Pin */
  GPIO_InitStruct.Pin = SAI2_SDB_Pin;
  GPIO_InitStruct.Mode = GPIO_MODE_AF_PP;
  GPIO_InitStruct.Pull = GPIO_NOPULL;
  GPIO_InitStruct.Speed = GPIO_SPEED_FREQ_LOW;
  GPIO_InitStruct.Alternate = GPIO_AF10_SAI2;
  HAL_GPIO_Init(SAI2_SDB_GPIO_Port, &GPIO_InitStruct);

  /*Configure GPIO pin : OTG_FS_PowerSwitchOn_Pin */
  GPIO_InitStruct.Pin = OTG_FS_PowerSwitchOn_Pin;
  GPIO_InitStruct.Mode = GPIO_MODE_OUTPUT_PP;
  GPIO_InitStruct.Pull = GPIO_NOPULL;
  GPIO_InitStruct.Speed = GPIO_SPEED_FREQ_LOW;
  HAL_GPIO_Init(OTG_FS_PowerSwitchOn_GPIO_Port, &GPIO_InitStruct);

  /*Configure GPIO pin : DCMI_D5_Pin */
  GPIO_InitStruct.Pin = DCMI_D5_Pin;
  GPIO_InitStruct.Mode = GPIO_MODE_AF_PP;
  GPIO_InitStruct.Pull = GPIO_NOPULL;
  GPIO_InitStruct.Speed = GPIO_SPEED_FREQ_LOW;
  GPIO_InitStruct.Alternate = GPIO_AF13_DCMI;
  HAL_GPIO_Init(DCMI_D5_GPIO_Port, &GPIO_InitStruct);

  /*Configure GPIO pins : ARDUINO_D7_Pin ARDUINO_D8_Pin LCD_DISP_Pin */
  GPIO_InitStruct.Pin = ARDUINO_D7_Pin|ARDUINO_D8_Pin|LCD_DISP_Pin;
  GPIO_InitStruct.Mode = GPIO_MODE_OUTPUT_PP;
  GPIO_InitStruct.Pull = GPIO_NOPULL;
  GPIO_InitStruct.Speed = GPIO_SPEED_FREQ_LOW;
  HAL_GPIO_Init(GPIOI, &GPIO_InitStruct);

  /*Configure GPIO pin : uSD_Detect_Pin */
  GPIO_InitStruct.Pin = uSD_Detect_Pin;
  GPIO_InitStruct.Mode = GPIO_MODE_INPUT;
  GPIO_InitStruct.Pull = GPIO_NOPULL;
  HAL_GPIO_Init(uSD_Detect_GPIO_Port, &GPIO_InitStruct);

  /*Configure GPIO pins : FMC_A0_Pin FMC_A1_Pin FMC_A2_Pin FMC_A3_Pin
                           FMC_A4_Pin FMC_A5_Pin FMC_A6_Pin FMC_A9_Pin
                           FMC_A7_Pin FMC_A8_Pin FMC_SDNRAS_Pin */
  GPIO_InitStruct.Pin = FMC_A0_Pin|FMC_A1_Pin|FMC_A2_Pin|FMC_A3_Pin
                          |FMC_A4_Pin|FMC_A5_Pin|FMC_A6_Pin|FMC_A9_Pin
                          |FMC_A7_Pin|FMC_A8_Pin|FMC_SDNRAS_Pin;
  GPIO_InitStruct.Mode = GPIO_MODE_AF_PP;
  GPIO_InitStruct.Pull = GPIO_NOPULL;
  GPIO_InitStruct.Speed = GPIO_SPEED_FREQ_VERY_HIGH;
  GPIO_InitStruct.Alternate = GPIO_AF12_FMC;
  HAL_GPIO_Init(GPIOF, &GPIO_InitStruct);

  /*Configure GPIO pins : LCD_HSYNC_Pin LCD_VSYNC_Pin LCD_R0_Pin LCD_CLK_Pin */
  GPIO_InitStruct.Pin = LCD_HSYNC_Pin|LCD_VSYNC_Pin|LCD_R0_Pin|LCD_CLK_Pin;
  GPIO_InitStruct.Mode = GPIO_MODE_AF_PP;
  GPIO_InitStruct.Pull = GPIO_NOPULL;
  GPIO_InitStruct.Speed = GPIO_SPEED_FREQ_LOW;
  GPIO_InitStruct.Alternate = GPIO_AF14_LTDC;
  HAL_GPIO_Init(GPIOI, &GPIO_InitStruct);

  /*Configure GPIO pin : LCD_BL_CTRL_Pin */
  GPIO_InitStruct.Pin = LCD_BL_CTRL_Pin;
  GPIO_InitStruct.Mode = GPIO_MODE_OUTPUT_PP;
  GPIO_InitStruct.Pull = GPIO_NOPULL;
  GPIO_InitStruct.Speed = GPIO_SPEED_FREQ_LOW;
  HAL_GPIO_Init(LCD_BL_CTRL_GPIO_Port, &GPIO_InitStruct);

  /*Configure GPIO pin : DCMI_VSYNC_Pin */
  GPIO_InitStruct.Pin = DCMI_VSYNC_Pin;
  GPIO_InitStruct.Mode = GPIO_MODE_AF_PP;
  GPIO_InitStruct.Pull = GPIO_NOPULL;
  GPIO_InitStruct.Speed = GPIO_SPEED_FREQ_LOW;
  GPIO_InitStruct.Alternate = GPIO_AF13_DCMI;
  HAL_GPIO_Init(DCMI_VSYNC_GPIO_Port, &GPIO_InitStruct);

  /*Configure GPIO pin : OTG_FS_OverCurrent_Pin */
  GPIO_InitStruct.Pin = OTG_FS_OverCurrent_Pin;
  GPIO_InitStruct.Mode = GPIO_MODE_INPUT;
  GPIO_InitStruct.Pull = GPIO_NOPULL;
  HAL_GPIO_Init(OTG_FS_OverCurrent_GPIO_Port, &GPIO_InitStruct);

  /*Configure GPIO pin : SDMMC_D0_Pin */
  GPIO_InitStruct.Pin = SDMMC_D0_Pin;
  GPIO_InitStruct.Mode = GPIO_MODE_AF_PP;
  GPIO_InitStruct.Pull = GPIO_NOPULL;
  GPIO_InitStruct.Speed = GPIO_SPEED_FREQ_VERY_HIGH;
  GPIO_InitStruct.Alternate = GPIO_AF12_SDMMC1;
  HAL_GPIO_Init(SDMMC_D0_GPIO_Port, &GPIO_InitStruct);

  /*Configure GPIO pins : TP3_Pin NC2_Pin */
  GPIO_InitStruct.Pin = TP3_Pin|NC2_Pin;
  GPIO_InitStruct.Mode = GPIO_MODE_INPUT;
  GPIO_InitStruct.Pull = GPIO_NOPULL;
  HAL_GPIO_Init(GPIOH, &GPIO_InitStruct);

  /*Configure GPIO pin : DCMI_PWR_EN_Pin */
  GPIO_InitStruct.Pin = DCMI_PWR_EN_Pin;
  GPIO_InitStruct.Mode = GPIO_MODE_OUTPUT_PP;
  GPIO_InitStruct.Pull = GPIO_NOPULL;
  GPIO_InitStruct.Speed = GPIO_SPEED_FREQ_LOW;
  HAL_GPIO_Init(DCMI_PWR_EN_GPIO_Port, &GPIO_InitStruct);

  /*Configure GPIO pins : DCMI_D4_Pin DCMI_D3_Pin DCMI_D0_Pin DCMI_D2_Pin
                           DCMI_D1_Pin */
  GPIO_InitStruct.Pin = DCMI_D4_Pin|DCMI_D3_Pin|DCMI_D0_Pin|DCMI_D2_Pin
                          |DCMI_D1_Pin;
  GPIO_InitStruct.Mode = GPIO_MODE_AF_PP;
  GPIO_InitStruct.Pull = GPIO_NOPULL;
  GPIO_InitStruct.Speed = GPIO_SPEED_FREQ_LOW;
  GPIO_InitStruct.Alternate = GPIO_AF13_DCMI;
  HAL_GPIO_Init(GPIOH, &GPIO_InitStruct);

  /*Configure GPIO pin : VCP_TX_Pin */
  GPIO_InitStruct.Pin = VCP_TX_Pin;
  GPIO_InitStruct.Mode = GPIO_MODE_AF_PP;
  GPIO_InitStruct.Pull = GPIO_NOPULL;
  GPIO_InitStruct.Speed = GPIO_SPEED_FREQ_LOW;
  GPIO_InitStruct.Alternate = GPIO_AF7_USART1;
  HAL_GPIO_Init(VCP_TX_GPIO_Port, &GPIO_InitStruct);

  /*Configure GPIO pin : SPI2_SS_Pin */
  GPIO_InitStruct.Pin = SPI2_SS_Pin;
  GPIO_InitStruct.Mode = GPIO_MODE_OUTPUT_PP;
  GPIO_InitStruct.Pull = GPIO_NOPULL;
  GPIO_InitStruct.Speed = GPIO_SPEED_FREQ_HIGH;
  HAL_GPIO_Init(SPI2_SS_GPIO_Port, &GPIO_InitStruct);

  /*Configure GPIO pin : LCD_INT_Pin */
  GPIO_InitStruct.Pin = LCD_INT_Pin;
  GPIO_InitStruct.Mode = GPIO_MODE_EVT_RISING;
  GPIO_InitStruct.Pull = GPIO_NOPULL;
  HAL_GPIO_Init(LCD_INT_GPIO_Port, &GPIO_InitStruct);

  /*Configure GPIO pins : ARDUINO_RX_D0_Pin ARDUINO_TX_D1_Pin */
  GPIO_InitStruct.Pin = ARDUINO_RX_D0_Pin|ARDUINO_TX_D1_Pin;
  GPIO_InitStruct.Mode = GPIO_MODE_AF_PP;
  GPIO_InitStruct.Pull = GPIO_NOPULL;
  GPIO_InitStruct.Speed = GPIO_SPEED_FREQ_VERY_HIGH;
  GPIO_InitStruct.Alternate = GPIO_AF8_USART6;
  HAL_GPIO_Init(GPIOC, &GPIO_InitStruct);

  /*Configure GPIO pin : ULPI_NXT_Pin */
  GPIO_InitStruct.Pin = ULPI_NXT_Pin;
  GPIO_InitStruct.Mode = GPIO_MODE_AF_PP;
  GPIO_InitStruct.Pull = GPIO_NOPULL;
  GPIO_InitStruct.Speed = GPIO_SPEED_FREQ_VERY_HIGH;
  GPIO_InitStruct.Alternate = GPIO_AF10_OTG_HS;
  HAL_GPIO_Init(ULPI_NXT_GPIO_Port, &GPIO_InitStruct);

  /*Configure GPIO pins : FMC_SDNME_Pin FMC_SDNE0_Pin */
  GPIO_InitStruct.Pin = FMC_SDNME_Pin|FMC_SDNE0_Pin;
  GPIO_InitStruct.Mode = GPIO_MODE_AF_PP;
  GPIO_InitStruct.Pull = GPIO_NOPULL;
  GPIO_InitStruct.Speed = GPIO_SPEED_FREQ_VERY_HIGH;
  GPIO_InitStruct.Alternate = GPIO_AF12_FMC;
  HAL_GPIO_Init(GPIOH, &GPIO_InitStruct);

  /*Configure GPIO pins : ARDUINO_D4_Pin ARDUINO_D2_Pin EXT_RST_Pin */
  GPIO_InitStruct.Pin = ARDUINO_D4_Pin|ARDUINO_D2_Pin|EXT_RST_Pin;
  GPIO_InitStruct.Mode = GPIO_MODE_OUTPUT_PP;
  GPIO_InitStruct.Pull = GPIO_NOPULL;
  GPIO_InitStruct.Speed = GPIO_SPEED_FREQ_LOW;
  HAL_GPIO_Init(GPIOG, &GPIO_InitStruct);

  /*Configure GPIO pins : ARDUINO_A4_Pin ARDUINO_A5_Pin ARDUINO_A1_Pin ARDUINO_A2_Pin
                           ARDUINO_A3_Pin */
  GPIO_InitStruct.Pin = ARDUINO_A4_Pin|ARDUINO_A5_Pin|ARDUINO_A1_Pin|ARDUINO_A2_Pin
                          |ARDUINO_A3_Pin;
  GPIO_InitStruct.Mode = GPIO_MODE_ANALOG;
  GPIO_InitStruct.Pull = GPIO_NOPULL;
  HAL_GPIO_Init(GPIOF, &GPIO_InitStruct);

  /*Configure GPIO pin : FMC_SDCKE0_Pin */
  GPIO_InitStruct.Pin = FMC_SDCKE0_Pin;
  GPIO_InitStruct.Mode = GPIO_MODE_AF_PP;
  GPIO_InitStruct.Pull = GPIO_NOPULL;
  GPIO_InitStruct.Speed = GPIO_SPEED_FREQ_VERY_HIGH;
  GPIO_InitStruct.Alternate = GPIO_AF12_FMC;
  HAL_GPIO_Init(FMC_SDCKE0_GPIO_Port, &GPIO_InitStruct);

  /*Configure GPIO pins : ULPI_STP_Pin ULPI_DIR_Pin */
  GPIO_InitStruct.Pin = ULPI_STP_Pin|ULPI_DIR_Pin;
  GPIO_InitStruct.Mode = GPIO_MODE_AF_PP;
  GPIO_InitStruct.Pull = GPIO_NOPULL;
  GPIO_InitStruct.Speed = GPIO_SPEED_FREQ_VERY_HIGH;
  GPIO_InitStruct.Alternate = GPIO_AF10_OTG_HS;
  HAL_GPIO_Init(GPIOC, &GPIO_InitStruct);

  /*Configure GPIO pins : RMII_MDC_Pin RMII_RXD0_Pin RMII_RXD1_Pin */
  GPIO_InitStruct.Pin = RMII_MDC_Pin|RMII_RXD0_Pin|RMII_RXD1_Pin;
  GPIO_InitStruct.Mode = GPIO_MODE_AF_PP;
  GPIO_InitStruct.Pull = GPIO_NOPULL;
  GPIO_InitStruct.Speed = GPIO_SPEED_FREQ_VERY_HIGH;
  GPIO_InitStruct.Alternate = GPIO_AF11_ETH;
  HAL_GPIO_Init(GPIOC, &GPIO_InitStruct);

  /*Configure GPIO pin : PB2 */
  GPIO_InitStruct.Pin = GPIO_PIN_2;
  GPIO_InitStruct.Mode = GPIO_MODE_AF_PP;
  GPIO_InitStruct.Pull = GPIO_NOPULL;
  GPIO_InitStruct.Speed = GPIO_SPEED_FREQ_VERY_HIGH;
  GPIO_InitStruct.Alternate = GPIO_AF9_QUADSPI;
  HAL_GPIO_Init(GPIOB, &GPIO_InitStruct);

  /*Configure GPIO pins : QSPI_D1_Pin QSPI_D3_Pin QSPI_D0_Pin */
  GPIO_InitStruct.Pin = QSPI_D1_Pin|QSPI_D3_Pin|QSPI_D0_Pin;
  GPIO_InitStruct.Mode = GPIO_MODE_AF_PP;
  GPIO_InitStruct.Pull = GPIO_NOPULL;
  GPIO_InitStruct.Speed = GPIO_SPEED_FREQ_VERY_HIGH;
  GPIO_InitStruct.Alternate = GPIO_AF9_QUADSPI;
  HAL_GPIO_Init(GPIOD, &GPIO_InitStruct);

  /*Configure GPIO pin : RMII_RXER_Pin */
  GPIO_InitStruct.Pin = RMII_RXER_Pin;
  GPIO_InitStruct.Mode = GPIO_MODE_INPUT;
  GPIO_InitStruct.Pull = GPIO_NOPULL;
  HAL_GPIO_Init(RMII_RXER_GPIO_Port, &GPIO_InitStruct);

  /*Configure GPIO pins : RMII_REF_CLK_Pin RMII_MDIO_Pin RMII_CRS_DV_Pin */
  GPIO_InitStruct.Pin = RMII_REF_CLK_Pin|RMII_MDIO_Pin|RMII_CRS_DV_Pin;
  GPIO_InitStruct.Mode = GPIO_MODE_AF_PP;
  GPIO_InitStruct.Pull = GPIO_NOPULL;
  GPIO_InitStruct.Speed = GPIO_SPEED_FREQ_VERY_HIGH;
  GPIO_InitStruct.Alternate = GPIO_AF11_ETH;
  HAL_GPIO_Init(GPIOA, &GPIO_InitStruct);

  /*Configure GPIO pin : ARDUINO_A0_Pin */
  GPIO_InitStruct.Pin = ARDUINO_A0_Pin;
  GPIO_InitStruct.Mode = GPIO_MODE_ANALOG;
  GPIO_InitStruct.Pull = GPIO_NOPULL;
  HAL_GPIO_Init(ARDUINO_A0_GPIO_Port, &GPIO_InitStruct);

  /*Configure GPIO pins : DCMI_HSYNC_Pin PA6 */
  GPIO_InitStruct.Pin = DCMI_HSYNC_Pin|GPIO_PIN_6;
  GPIO_InitStruct.Mode = GPIO_MODE_AF_PP;
  GPIO_InitStruct.Pull = GPIO_NOPULL;
  GPIO_InitStruct.Speed = GPIO_SPEED_FREQ_LOW;
  GPIO_InitStruct.Alternate = GPIO_AF13_DCMI;
  HAL_GPIO_Init(GPIOA, &GPIO_InitStruct);

  /*Configure GPIO pins : LCD_SCL_Pin LCD_SDA_Pin */
  GPIO_InitStruct.Pin = LCD_SCL_Pin|LCD_SDA_Pin;
  GPIO_InitStruct.Mode = GPIO_MODE_AF_OD;
  GPIO_InitStruct.Pull = GPIO_PULLUP;
  GPIO_InitStruct.Speed = GPIO_SPEED_FREQ_VERY_HIGH;
  GPIO_InitStruct.Alternate = GPIO_AF4_I2C3;
  HAL_GPIO_Init(GPIOH, &GPIO_InitStruct);

  /*Configure GPIO pins : ULPI_CLK_Pin ULPI_D0_Pin */
  GPIO_InitStruct.Pin = ULPI_CLK_Pin|ULPI_D0_Pin;
  GPIO_InitStruct.Mode = GPIO_MODE_AF_PP;
  GPIO_InitStruct.Pull = GPIO_NOPULL;
  GPIO_InitStruct.Speed = GPIO_SPEED_FREQ_VERY_HIGH;
  GPIO_InitStruct.Alternate = GPIO_AF10_OTG_HS;
  HAL_GPIO_Init(GPIOA, &GPIO_InitStruct);

  /*Configure GPIO pin : ARDUINO_PWM_D6_Pin */
  GPIO_InitStruct.Pin = ARDUINO_PWM_D6_Pin;
  GPIO_InitStruct.Mode = GPIO_MODE_AF_PP;
  GPIO_InitStruct.Pull = GPIO_NOPULL;
  GPIO_InitStruct.Speed = GPIO_SPEED_FREQ_LOW;
  GPIO_InitStruct.Alternate = GPIO_AF9_TIM12;
  HAL_GPIO_Init(ARDUINO_PWM_D6_GPIO_Port, &GPIO_InitStruct);

}

void Error_Handler(void)
{
}

#ifdef  USE_FULL_ASSERT
/**
  * @brief  Reports the name of the source file and the source line number
  *         where the assert_param error has occurred.
  * @param  file: pointer to the source file name
  * @param  line: assert_param error line source number
  * @retval None
  */
void assert_failed(uint8_t *file, uint32_t line)
{
  /* USER CODE BEGIN 6 */
  /* User can add his own implementation to report the file name and line number,
    ex: //printf("Wrong parameters value: file %s on line %d\r\n", file, line) */
  /* USER CODE END 6 */
}
#endif /* USE_FULL_ASSERT */

/************************ (C) COPYRIGHT STMicroelectronics *****END OF FILE****/
